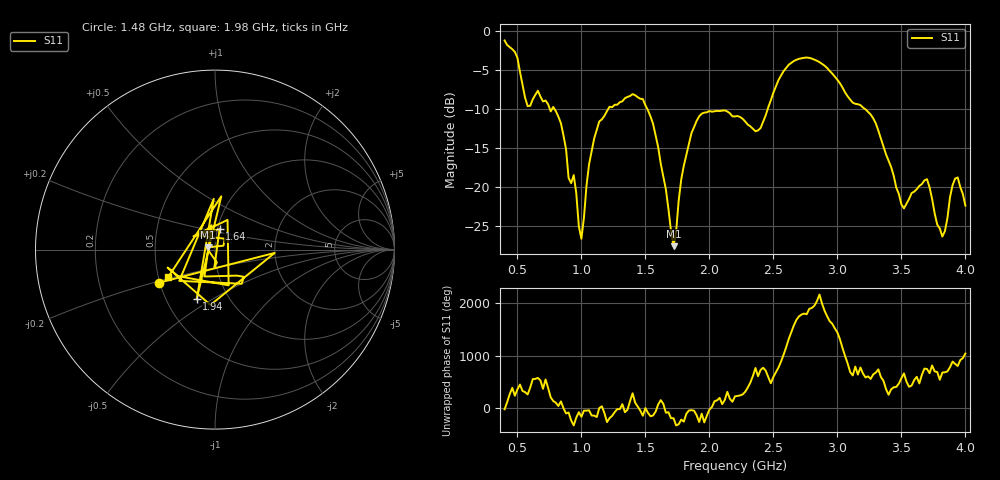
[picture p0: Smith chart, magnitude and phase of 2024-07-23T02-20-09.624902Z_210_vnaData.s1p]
!Created with skrf (http://scikit-rf.org).
# Hz S RI R 50.0
!freq ReS11 ImS11
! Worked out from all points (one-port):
!   181 points, 400 MHz to 4 GHz, reference 50 ohm
!   lowest |S11| = -27.5 dB at 1.72 GHz (marker M1), VSWR 1.09, Z = 46.1 + j1.15 ohm
!   |S11| at or under -10 dB: 789 MHz to 1.21 GHz (421.3 MHz wide, 42.1 % of centre); 1.514 GHz to 2.456 GHz (942 MHz wide, 47.5 % of centre); 3.214 GHz to end of sweep (the widest 3 of 4)
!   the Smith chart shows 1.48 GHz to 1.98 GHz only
!   S11 on the Smith chart (normalised r, x): 1.48 GHz: 0.49, -0.21; 1.64 GHz: 1.02, +0.24; 1.94 GHz: 0.71, -0.43; 1.98 GHz: 0.57, -0.19
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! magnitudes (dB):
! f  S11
! 400 MHz  -1.3
! 500 MHz  -3.5
! 580 MHz  -9.7
! 660 MHz  -7.7
! 860 MHz  -13.4
! 900 MHz  -18.8
! 940 MHz  -18.5
! 1 GHz  -26.6
! 1.1 GHz  -13.8
! 1.3 GHz  -9.2
! 1.48 GHz  -8.8
! 1.64 GHz  -18.6
! 1.72 GHz  -27.5
! 1.76 GHz  -21.7
! 1.86 GHz  -13.1
! 1.94 GHz  -10.6
! 1.98 GHz  -10.4
! 2.2 GHz  -11.0
! 2.4 GHz  -12.5
! 2.66 GHz  -3.9
! 3.1 GHz  -8.8
! 3.28 GHz  -11.2
! 3.5 GHz  -22.2
! 3.56 GHz  -21.5
! 3.7 GHz  -19.0
! 3.82 GHz  -26.3
! 3.92 GHz  -18.9
! 4 GHz  -22.4
